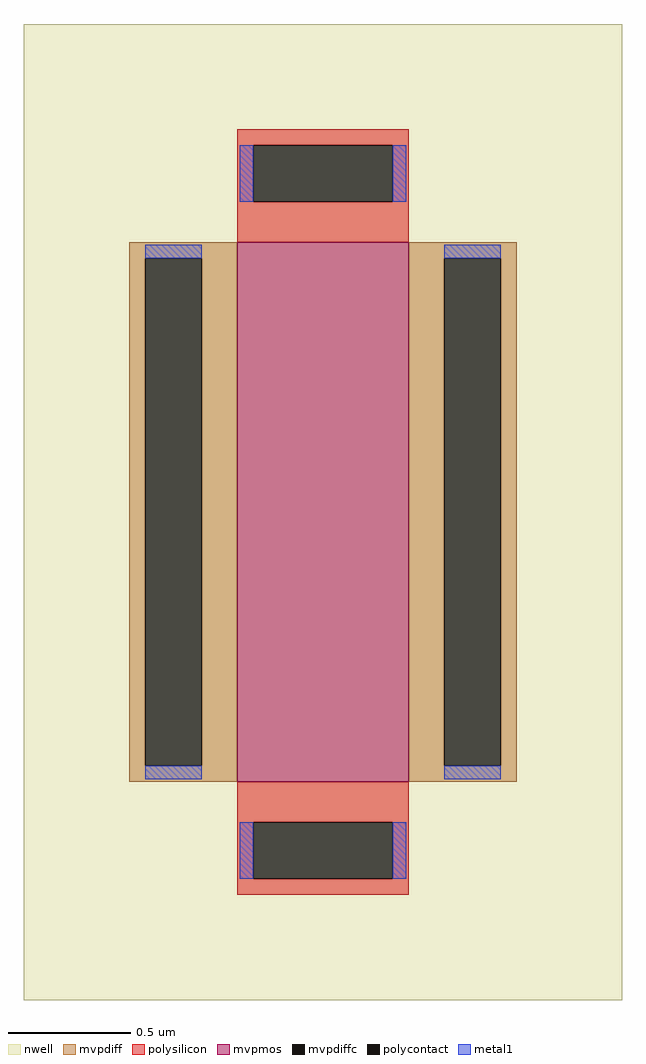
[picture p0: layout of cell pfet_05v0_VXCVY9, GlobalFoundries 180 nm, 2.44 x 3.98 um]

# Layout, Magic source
magic
tech gf180mcuD
magscale 1 10
<< nwell >>
rect -244 -398 244 398
<< mvpmos >>
rect -70 -220 70 220
<< mvpdiff >>
rect -158 207 -70 220
rect -158 -207 -145 207
rect -99 -207 -70 207
rect -158 -220 -70 -207
rect 70 207 158 220
rect 70 -207 99 207
rect 145 -207 158 207
rect 70 -220 158 -207
<< mvpdiffc >>
rect -145 -207 -99 207
rect 99 -207 145 207
<< polysilicon >>
rect -70 299 70 312
rect -70 253 -57 299
rect 57 253 70 299
rect -70 220 70 253
rect -70 -253 70 -220
rect -70 -299 -57 -253
rect 57 -299 70 -253
rect -70 -312 70 -299
<< polycontact >>
rect -57 253 57 299
rect -57 -299 57 -253
<< metal1 >>
rect -68 253 -57 299
rect 57 253 68 299
rect -145 207 -99 218
rect -145 -218 -99 -207
rect 99 207 145 218
rect 99 -218 145 -207
rect -68 -299 -57 -253
rect 57 -299 68 -253
<< properties >>
string gencell pfet_05v0
string library gf180mcu
string parameters w 2.2 l 0.7 m 1 nf 1 diffcov 100 polycov 100 guard 0 glc 0 grc 0 gtc 0 gbc 0 tbcov 100 rlcov 100 topc 0 botc 0 poverlap 1 doverlap 1 lmin 0.5 wmin 0.3 class mosfet full_metal 0 compatible {pfet_03v3 pfet_05v0 pfet_06v0}
<< end >>
